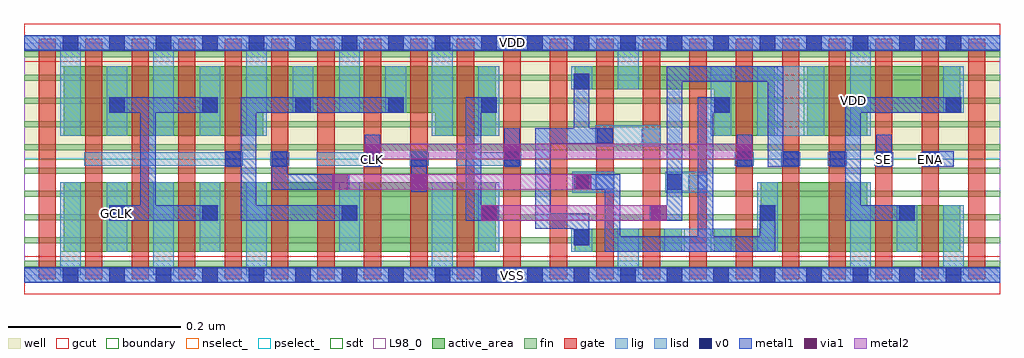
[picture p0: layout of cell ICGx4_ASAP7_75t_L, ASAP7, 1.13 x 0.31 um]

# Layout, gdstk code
import gdstk
lib = gdstk.Library(unit=1e-6, precision=2.5e-10)
def R(c, l, rs):  # rectangles x0, y0, x1, y1
    for r in rs: c.add(gdstk.rectangle(r[:2], r[2:], *l))
def A(c, l, x, y, w, h, nx, ny, dx, dy):  # array of equal rectangles
    R(c, l, [(x+i*dx, y+j*dy, x+i*dx+w, y+j*dy+h) for i in range(nx) for j in range(ny)])
def P(c, l, *ps):  # polygons
    for p in ps: c.add(gdstk.Polygon(p, *l))
well = (1, 0)
fin = (2, 0)
gate = (7, 0)
gcut = (10, 0)
active_area = (11, 0)
nselect_ = (12, 0)
pselect_ = (13, 0)
lig = (16, 0)
lisd = (17, 0)
v0 = (18, 0)
metal1 = (19, 0)
metal2 = (20, 0)
via1 = (21, 0)
sdt = (88, 0)
L98_0 = (98, 0)
boundary = (100, 0)

icgx4_asap7_75t_l = lib.new_cell('ICGx4_ASAP7_75t_L')
R(icgx4_asap7_75t_l, well, [(0,0.135,1.134,0.27)])
A(icgx4_asap7_75t_l, fin, 0, 0.01, 1.134, 0.007, 1, 10, 0, 0.027)
A(icgx4_asap7_75t_l, gate, 0.017, -0.005, 0.02, 0.28, 21, 1, 0.054, 0)
R(icgx4_asap7_75t_l, gcut, [(0,-0.022,1.134,0.022), (0,0.248,1.134,0.292)])
R(icgx4_asap7_75t_l, active_area, [(0.046,0.027,0.548,0.108), (0.64,0.027,0.764,0.054)])
P(icgx4_asap7_75t_l, active_area, [(0.98,0.108),(0.856,0.108),(0.856,0.054),(0.802,0.054),(0.802,0.027),(1.088,0.027),(1.088,0.081),(0.98,0.081)],
  [(0.64,0.216),(0.802,0.216),(0.802,0.162),(0.872,0.162),(0.872,0.243),(0.64,0.243)],
  [(1.088,0.243),(0.91,0.243),(0.91,0.162),(0.98,0.162),(0.98,0.189),(1.088,0.189)],
  [(0.478,0.162),(0.548,0.162),(0.548,0.243),(0.046,0.243),(0.046,0.162),(0.278,0.162),(0.278,0.189),(0.478,0.189)])
R(icgx4_asap7_75t_l, nselect_, [(0,0,1.134,0.135)])
R(icgx4_asap7_75t_l, pselect_, [(0,0.135,1.134,0.27)])
A(icgx4_asap7_75t_l, lig, 0.826, 0.127, 0.022, 0.016, 5, 1, 0.054, 0)
R(icgx4_asap7_75t_l, lig, [(0,-0.008,1.134,0.008), (0.664,0.1,0.686,0.116), (0.772,0.1,0.794,0.116), (0.07,0.127,0.254,0.143), (0.286,0.127,0.308,0.143), (0.34,0.127,0.416,0.143), (0.448,0.127,0.47,0.143), (0.502,0.127,0.578,0.143), (0.718,0.154,0.74,0.17), (0,0.262,1.134,0.278)])
A(icgx4_asap7_75t_l, lisd, 0.042, 0, 0.024, 0.108, 3, 2, 0.108, 0.162)
A(icgx4_asap7_75t_l, lisd, 0.204, 0.027, 0.024, 0.081, 3, 1, 0.162, 0)
R(icgx4_asap7_75t_l, lisd, [(0.474,0,0.498,0.108), (0.69,0,0.714,0.054), (0.96,0,0.984,0.108), (1.068,0,1.092,0.081), (0.096,0.027,0.12,0.108), (0.636,0.027,0.66,0.054), (0.744,0.027,0.822,0.054), (0.852,0.027,0.876,0.108), (1.014,0.027,1.038,0.081), (0.637,0.096,0.686,0.12), (0.745,0.096,0.794,0.12), (0.664,0.15,0.74,0.174), (0.096,0.162,0.12,0.243), (0.204,0.162,0.228,0.243), (0.474,0.162,0.498,0.27), (0.528,0.162,0.552,0.243), (0.798,0.162,0.822,0.243), (0.852,0.162,0.93,0.243), (0.96,0.162,0.984,0.27), (0.312,0.189,0.336,0.243), (0.366,0.189,0.39,0.27), (0.42,0.189,0.444,0.243), (1.068,0.189,1.092,0.243), (0.636,0.216,0.66,0.243), (0.69,0.216,0.714,0.27)])
A(icgx4_asap7_75t_l, v0, 0.045, -0.009, 0.018, 0.018, 20, 2, 0.054, 0.27)
A(icgx4_asap7_75t_l, v0, 0.828, 0.126, 0.018, 0.018, 5, 1, 0.054, 0)
A(icgx4_asap7_75t_l, v0, 0.099, 0.189, 0.018, 0.018, 5, 1, 0.108, 0)
R(icgx4_asap7_75t_l, v0, [(0.639,0.035,0.657,0.053), (0.099,0.063,0.117,0.081), (0.207,0.063,0.225,0.081), (0.369,0.063,0.387,0.081), (0.533,0.063,0.551,0.081), (0.855,0.063,0.873,0.081), (1.017,0.063,1.035,0.081), (0.639,0.099,0.657,0.117), (0.747,0.099,0.765,0.117), (0.234,0.126,0.252,0.144), (0.288,0.126,0.306,0.144), (0.396,0.126,0.414,0.144), (0.45,0.126,0.468,0.144), (0.558,0.126,0.576,0.144), (0.666,0.153,0.684,0.171), (0.802,0.189,0.82,0.207), (1.071,0.189,1.089,0.207), (0.639,0.216,0.657,0.234)])
R(icgx4_asap7_75t_l, metal1, [(0,-0.009,1.134,0.009), (0.45,0.097,0.468,0.144), (0.396,0.126,0.414,0.163), (0.558,0.126,0.576,0.171), (0.828,0.126,0.846,0.163), (0.99,0.126,1.008,0.163), (1.044,0.126,1.08,0.144), (0,0.261,1.134,0.279)])
P(icgx4_asap7_75t_l, metal1, [(0.378,0.117),(0.306,0.117),(0.306,0.144),(0.288,0.144),(0.288,0.099),(0.378,0.099)],
  [(0.873,0.081),(0.855,0.081),(0.855,0.045),(0.801,0.045),(0.801,0.189),(0.82,0.189),(0.82,0.207),(0.783,0.207),(0.783,0.045),(0.693,0.045),(0.693,0.117),(0.639,0.117),(0.639,0.099),(0.675,0.099),(0.675,0.027),(0.873,0.027)],
  [(0.551,0.081),(0.531,0.081),(0.531,0.189),(0.549,0.189),(0.549,0.207),(0.513,0.207),(0.513,0.063),(0.551,0.063)],
  [(0.387,0.081),(0.27,0.081),(0.27,0.189),(0.441,0.189),(0.441,0.207),(0.252,0.207),(0.252,0.144),(0.234,0.144),(0.234,0.126),(0.252,0.126),(0.252,0.063),(0.387,0.063)],
  [(0.225,0.081),(0.153,0.081),(0.153,0.189),(0.225,0.189),(0.225,0.207),(0.099,0.207),(0.099,0.189),(0.135,0.189),(0.135,0.081),(0.099,0.081),(0.099,0.063),(0.225,0.063)],
  [(1.089,0.207),(0.954,0.207),(0.954,0.144),(0.936,0.144),(0.936,0.126),(0.954,0.126),(0.954,0.063),(1.035,0.063),(1.035,0.081),(0.972,0.081),(0.972,0.189),(1.089,0.189)],
  [(0.657,0.072),(0.612,0.072),(0.612,0.153),(0.684,0.153),(0.684,0.171),(0.657,0.171),(0.657,0.234),(0.639,0.234),(0.639,0.171),(0.594,0.171),(0.594,0.054),(0.639,0.054),(0.639,0.035),(0.657,0.035)],
  [(0.765,0.225),(0.864,0.225),(0.864,0.126),(0.9,0.126),(0.9,0.144),(0.882,0.144),(0.882,0.243),(0.747,0.243),(0.747,0.081),(0.727,0.081),(0.727,0.063),(0.765,0.063)])
R(icgx4_asap7_75t_l, metal2, [(0.531,0.063,0.747,0.081), (0.358,0.099,0.659,0.117), (0.396,0.135,0.846,0.153)])
R(icgx4_asap7_75t_l, via1, [(0.531,0.063,0.549,0.081), (0.729,0.063,0.747,0.081), (0.358,0.099,0.376,0.117), (0.45,0.099,0.468,0.117), (0.641,0.099,0.659,0.117), (0.396,0.135,0.414,0.153), (0.558,0.135,0.576,0.153), (0.828,0.135,0.846,0.153)])
A(icgx4_asap7_75t_l, sdt, 0.042, 0.027, 0.024, 0.081, 5, 2, 0.054, 0.135)
A(icgx4_asap7_75t_l, sdt, 0.636, 0.027, 0.024, 0.027, 4, 1, 0.054, 0)
A(icgx4_asap7_75t_l, sdt, 0.798, 0.162, 0.024, 0.081, 4, 1, 0.054, 0)
A(icgx4_asap7_75t_l, sdt, 0.312, 0.189, 0.024, 0.054, 3, 1, 0.054, 0)
R(icgx4_asap7_75t_l, sdt, [(0.366,0.027,0.39,0.108), (0.474,0.027,0.498,0.108), (0.528,0.027,0.552,0.108), (0.852,0.027,0.876,0.108), (0.96,0.027,0.984,0.108), (1.014,0.027,1.038,0.081), (1.068,0.027,1.092,0.081), (0.474,0.162,0.498,0.243), (0.528,0.162,0.552,0.243), (1.068,0.189,1.092,0.243), (0.636,0.216,0.66,0.243), (0.69,0.216,0.714,0.243)])
R(icgx4_asap7_75t_l, L98_0, [(0,0,1.134,0.27)])
R(icgx4_asap7_75t_l, boundary, [(0,0,1.134,0.27)])
icgx4_asap7_75t_l.add(gdstk.Label('SE', (0.999,0.135), layer=19, texttype=251))
icgx4_asap7_75t_l.add(gdstk.Label('GCLK', (0.108,0.072), layer=19, texttype=251))
icgx4_asap7_75t_l.add(gdstk.Label('ENA', (1.053,0.135), layer=19, texttype=251))
icgx4_asap7_75t_l.add(gdstk.Label('CLK', (0.405,0.135), layer=19, texttype=251))
icgx4_asap7_75t_l.add(gdstk.Label('VSS', (0.567,0), layer=19, texttype=251))
icgx4_asap7_75t_l.add(gdstk.Label('VDD', (0.567,0.27), layer=19, texttype=251))
icgx4_asap7_75t_l.add(gdstk.Label('VDD', (0.964,0.2025), layer=1, texttype=251))
icgx4_asap7_75t_l.add(gdstk.Label('VSS', (1.304,0.2025), layer=3, texttype=251))

lib.write_gds('ICGx4_ASAP7_75t_L.gds')
